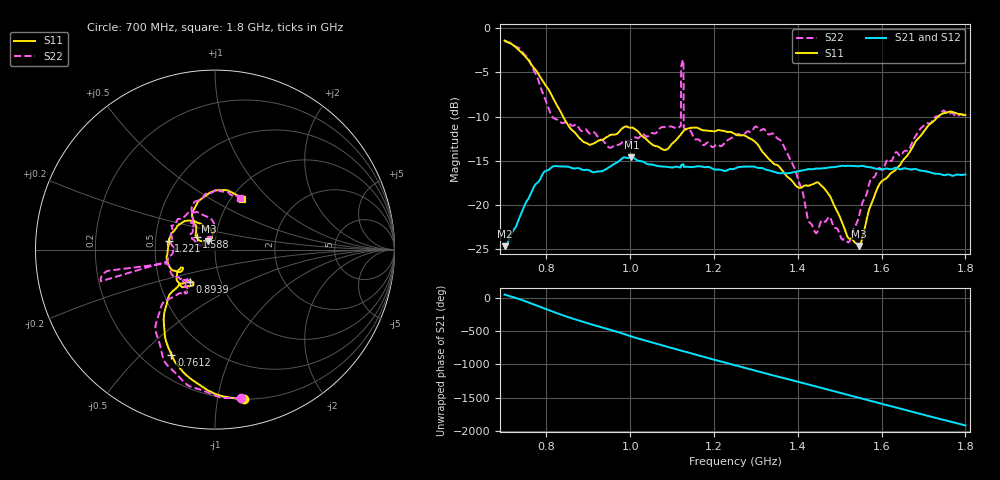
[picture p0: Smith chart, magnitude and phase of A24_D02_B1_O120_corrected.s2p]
! Created with skrf 1.9.0 (http://scikit-rf.org).
# Hz S RI R 50.0
!freq ReS11 ImS11 ReS21 ImS21 ReS12 ImS12 ReS22 ImS22
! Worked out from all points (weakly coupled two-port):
!   1601 points, 700 MHz to 1.8 GHz, reference 50 ohm
!   highest |S21| = -14.58 dB at 1.002 GHz (marker M1); lowest = -24.6 dB at 700 MHz (marker M2)
!   lowest |S11| = -24.6 dB at 1.546 GHz (marker M3), VSWR 1.12, Z = 46.3 + j4.27 ohm
!   |S11| at or under -10 dB: 839.6 MHz to 1.735 GHz (895 MHz wide, 69.5 % of centre)
!   |S22| runs from -24.2 to -1.5 dB; largest |S21 - S12| = 0.0035
!   S11 on the Smith chart (normalised r, x): 700 MHz: 0.20, -1.19; 761.2 MHz: 0.32, -0.62; 893.9 MHz: 0.72, -0.27; 1.221 GHz: 0.59, +0.06; 1.588 GHz: 0.81, +0.11; 1.8 GHz: 1.12, +0.71
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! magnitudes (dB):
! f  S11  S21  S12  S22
! 700 MHz  -1.4  -24.6  -24.4  -1.5
! 761.2 MHz  -4.0  -18.9  -18.8  -3.9
! 814.1 MHz  -7.8  -15.7  -15.7  -10.0
! 883.6 MHz  -12.7  -16.0  -15.9  -11.6
! 893.9 MHz  -12.9  -16.0  -16.1  -11.4
! 1.002 GHz  -11.2  -14.6  -14.7  -12.6
! 1.067 GHz  -13.4  -15.6  -15.5  -11.5
! 1.115 GHz  -12.3  -15.7  -15.7  -11.2
! 1.123 GHz  -11.9  -15.5  -15.4  -4.1
! 1.127 GHz  -11.6  -15.4  -15.4  -3.6
! 1.133 GHz  -11.4  -15.7  -15.7  -11.5
! 1.221 GHz  -11.6  -16.1  -16.1  -13.2
! 1.25 GHz  -12.0  -15.9  -15.8  -12.2
! 1.359 GHz  -15.8  -16.4  -16.4  -12.7
! 1.434 GHz  -17.7  -16.0  -15.9  -22.2
! 1.476 GHz  -18.9  -15.7  -15.8  -21.3
! 1.52 GHz  -23.6  -15.6  -15.6  -24.2
! 1.546 GHz  -24.6  -15.6  -15.6  -21.2
! 1.588 GHz  -18.3  -15.9  -15.9  -16.3
! 1.617 GHz  -16.7  -15.9  -15.9  -14.9
! 1.737 GHz  -9.9  -16.5  -16.5  -10.0
! 1.8 GHz  -9.9  -16.5  -16.5  -9.9
